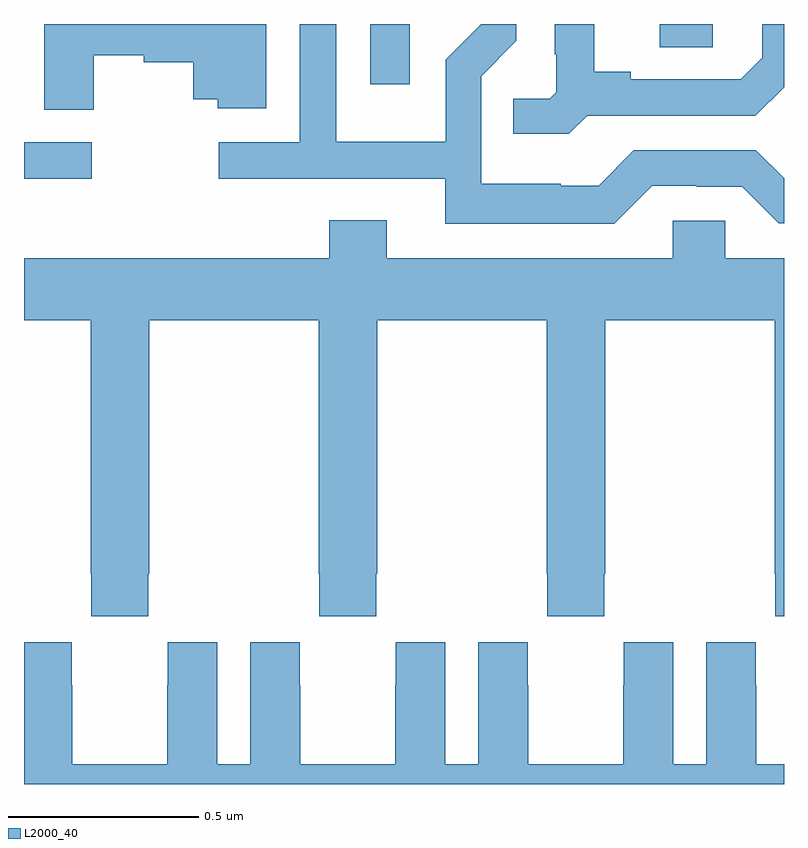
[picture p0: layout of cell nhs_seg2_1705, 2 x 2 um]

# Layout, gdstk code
import gdstk
lib = gdstk.Library(unit=1e-6, precision=1e-09)
def R(c, l, rs):  # rectangles x0, y0, x1, y1
    for r in rs: c.add(gdstk.rectangle(r[:2], r[2:], *l))
def P(c, l, *ps):  # polygons
    for p in ps: c.add(gdstk.Polygon(p, *l))
L2000_40 = (2000, 40)

nhs_seg2_1705 = lib.new_cell('nhs_seg2_1705')
R(nhs_seg2_1705, L2000_40, [(132,597.393,132.178,597.489), (132.911,597.642,133.015,597.8), (133.673,597.739,133.812,597.8)])
P(nhs_seg2_1705, L2000_40, [(133.653,597.375),(133.77,597.375),(133.77,597.372),(133.89,597.372),(133.986,597.276),(134,597.276),(134,597.394),(133.926,597.468),(133.605,597.468),(133.512,597.375),(133.412,597.375),(133.412,597.379),(133.203,597.379),(133.203,597.663),(133.296,597.756),(133.296,597.8),(133.202,597.8),(133.202,597.798),(133.11,597.706),(133.11,597.49),(132.822,597.49),(132.822,597.8),(132.726,597.8),(132.726,597.489),(132.513,597.489),(132.513,597.393),(133.109,597.393),(133.109,597.275),(133.553,597.275)],
  [(133.482,597.558),(133.924,597.558),(134,597.634),(134,597.8),(133.943,597.8),(133.943,597.711),(133.886,597.654),(133.597,597.654),(133.597,597.674),(133.501,597.674),(133.501,597.8),(133.397,597.8),(133.397,597.721),(133.401,597.721),(133.401,597.621),(133.383,597.603),(133.288,597.603),(133.288,597.511),(133.434,597.511)],
  [(132.184,597.718),(132.315,597.718),(132.315,597.7),(132.446,597.7),(132.446,597.602),(132.51,597.602),(132.51,597.578),(132.637,597.578),(132.637,597.8),(132.053,597.8),(132.053,597.574),(132.184,597.574)],
  [(132.327,596.353),(132.33,596.353),(132.33,597.02),(132.775,597.02),(132.775,596.353),(132.777,596.353),(132.777,596.241),(132.927,596.241),(132.927,596.353),(132.93,596.353),(132.93,597.02),(133.375,597.02),(133.375,596.353),(133.377,596.353),(133.377,596.241),(133.527,596.241),(133.527,596.353),(133.53,596.353),(133.53,597.02),(133.975,597.02),(133.975,596.353),(133.977,596.353),(133.977,596.241),(134,596.241),(134,597.184),(133.845,597.184),(133.845,597.282),(133.707,597.282),(133.707,597.184),(132.955,597.184),(132.955,597.283),(132.803,597.283),(132.803,597.184),(132,597.184),(132,597.02),(132.175,597.02),(132.175,596.353),(132.177,596.353),(132.177,596.241),(132.327,596.241)],
  [(134,595.852),(133.927,595.852),(133.927,596.06),(133.926,596.06),(133.926,596.173),(133.796,596.173),(133.796,595.852),(133.708,595.852),(133.708,596.173),(133.578,596.173),(133.578,596.06),(133.577,596.06),(133.577,595.852),(133.327,595.852),(133.327,596.06),(133.326,596.06),(133.326,596.173),(133.196,596.173),(133.196,595.852),(133.108,595.852),(133.108,596.173),(132.978,596.173),(132.978,596.06),(132.977,596.06),(132.977,595.852),(132.727,595.852),(132.727,596.06),(132.726,596.06),(132.726,596.173),(132.596,596.173),(132.596,595.852),(132.508,595.852),(132.508,596.173),(132.378,596.173),(132.378,596.06),(132.377,596.06),(132.377,595.852),(132.127,595.852),(132.127,596.06),(132.126,596.06),(132.126,596.173),(132,596.173),(132,595.8),(134,595.8)])

lib.write_gds('nhs_seg2_1705.gds')
